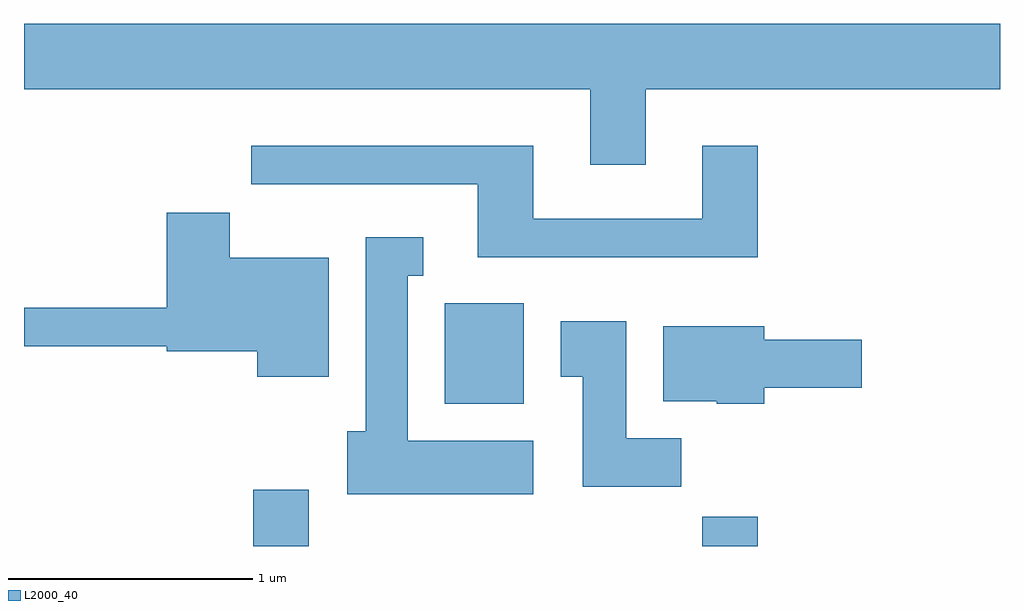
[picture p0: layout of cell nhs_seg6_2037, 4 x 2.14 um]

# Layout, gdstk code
import gdstk
lib = gdstk.Library(unit=1e-6, precision=1e-09)
def R(c, l, rs):  # rectangles x0, y0, x1, y1
    for r in rs: c.add(gdstk.rectangle(r[:2], r[2:], *l))
def P(c, l, *ps):  # polygons
    for p in ps: c.add(gdstk.Polygon(p, *l))
L2000_40 = (2000, 40)

nhs_seg6_2037 = lib.new_cell('nhs_seg6_2037')
R(nhs_seg6_2037, L2000_40, [(248.551,1548.162,248.779,1548.394), (250.391,1548.162,250.619,1548.284), (249.336,1548.746,249.659,1549.159)])
P(nhs_seg6_2037, L2000_40, [(250.159,1550.036),(251.611,1550.036),(251.611,1550.304),(247.611,1550.304),(247.611,1550.036),(249.931,1550.036),(249.931,1549.726),(250.159,1549.726)],
  [(250.619,1549.804),(250.391,1549.804),(250.391,1549.504),(249.699,1549.504),(249.699,1549.804),(248.543,1549.804),(248.543,1549.646),(249.471,1549.646),(249.471,1549.346),(250.619,1549.346)],
  [(248.859,1549.344),(248.454,1549.344),(248.454,1549.529),(248.196,1549.529),(248.196,1549.139),(247.611,1549.139),(247.611,1548.981),(248.196,1548.981),(248.196,1548.961),(248.566,1548.961),(248.566,1548.856),(248.859,1548.856)],
  [(249.699,1548.594),(249.184,1548.594),(249.184,1549.271),(249.248,1549.271),(249.248,1549.429),(249.011,1549.429),(249.011,1548.634),(248.936,1548.634),(248.936,1548.376),(249.699,1548.376)],
  [(250.304,1548.604),(250.079,1548.604),(250.079,1549.084),(249.811,1549.084),(249.811,1548.856),(249.901,1548.856),(249.901,1548.406),(250.304,1548.406)],
  [(250.644,1548.811),(251.044,1548.811),(251.044,1549.009),(250.644,1549.009),(250.644,1549.064),(250.231,1549.064),(250.231,1548.756),(250.45,1548.756),(250.45,1548.746),(250.644,1548.746)])

lib.write_gds('nhs_seg6_2037.gds')
